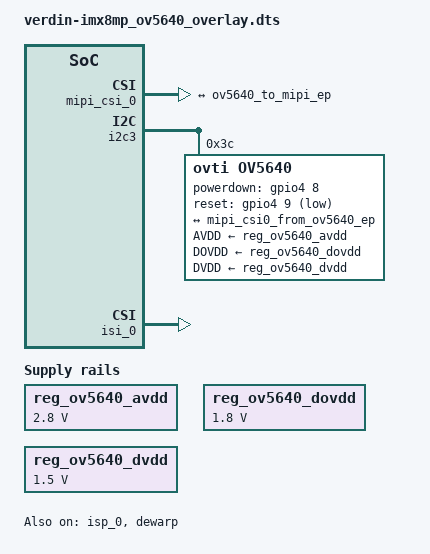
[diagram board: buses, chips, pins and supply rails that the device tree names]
/dts-v1/;
/plugin/;

#include "imx8mp-pinfunc.h"
#include <dt-bindings/clock/imx8mp-clock.h>
#include <dt-bindings/gpio/gpio.h>

&{/} {
    reg_ov5640_avdd: regulator-ov5640-avdd {
        compatible = "regulator-fixed";
        regulator-name = "ov5640_avdd";
        regulator-min-microvolt = <2800000>;
        regulator-max-microvolt = <2800000>;
        regulator-always-on;
    };

    reg_ov5640_dovdd: regulator-ov5640-dovdd {
        compatible = "regulator-fixed";
        regulator-name = "ov5640_dovdd";
        regulator-min-microvolt = <1800000>;
        regulator-max-microvolt = <1800000>;
        regulator-always-on;
    };

    reg_ov5640_dvdd: regulator-ov5640-dvdd {
        compatible = "regulator-fixed";
        regulator-name = "ov5640_dvdd";
        regulator-min-microvolt = <1500000>;
        regulator-max-microvolt = <1500000>;
        regulator-always-on;
    };
};

&mipi_csi_0 {
    status = "okay";
    /delete-node/ port;

    port@0 {
        mipi_csi0_from_ov5640_ep: endpoint {
            remote-endpoint = <&ov5640_to_mipi_ep>;
            data-lanes = <2>;
            csis-hs-settle = <13>;
        };
    };
};

&i2c3 {
    #address-cells = <1>;
    #size-cells = <0>;
    status = "okay";

    ov5640: ov5640@3c {
        status = "okay";
        compatible = "ovti,ov5640";
        reg = <0x3c>;
        pinctrl-names = "default";
        pinctrl-0 = <&pinctrl_ov5640_gpios &pinctrl_ov5640_mclk>;
        AVDD-supply = <&reg_ov5640_avdd>;
        DOVDD-supply = <&reg_ov5640_dovdd>;
        DVDD-supply = <&reg_ov5640_dvdd>;
        clocks = <&clk IMX8MP_CLK_IPP_DO_CLKO2>;
        clock-names = "xclk";
        assigned-clocks = <&clk IMX8MP_CLK_IPP_DO_CLKO2>;
        assigned-clock-parents = <&clk IMX8MP_CLK_24M>;
        assigned-clock-rates = <24000000>;
        csi_id = <0>;
        powerdown-gpios = <&gpio4 8 GPIO_ACTIVE_HIGH>;
        reset-gpios = <&gpio4 9 GPIO_ACTIVE_LOW>;
        mclk = <24000000>;
        mclk_source = <0>;
        mipi_csi;

        port {
            ov5640_to_mipi_ep: endpoint {
                remote-endpoint = <&mipi_csi0_from_ov5640_ep>;
                data-lanes = <1 2>;
                clock-lanes = <0>;
            };
        };
    };
};

/* Media Controller */
&{/soc@0/bus@32c00000/camera} {
    status = "okay";
};

&isi_0 {
    status = "okay";
    cap_device { status = "okay"; };
    m2m_device { status = "okay"; };
};

&isp_0 { 
    status = "okay"; 
};

&dewarp { 
    status = "okay"; 
};

&iomuxc {

    /delete-property/ pinctrl-0;

    pinctrl-0 = <&pinctrl_gpio1>, <&pinctrl_gpio2>,
		    <&pinctrl_gpio3>, <&pinctrl_gpio4>,
		    <&pinctrl_gpio7>, <&pinctrl_gpio8>,
		    <&pinctrl_gpio_hog2>, <&pinctrl_gpio_hog4>,
		    <&pinctrl_hdmi_hog>;

    /delete-node/ gpiohog3grp;

    pinctrl_ov5640_gpios: ov5640gpiosgrp {
        fsl,pins = <
            MX8MP_IOMUXC_SAI1_RXD6__GPIO4_IO08    0x106 
            MX8MP_IOMUXC_SAI1_RXD7__GPIO4_IO09    0x106
        >;
    };

    pinctrl_ov5640_mclk: ov5640mclkgrp {
        fsl,pins = <
            MX8MP_IOMUXC_GPIO1_IO15__CCM_CLKO2    0x156
        >;
    };
};

&fec {
    status = "disabled";
};
